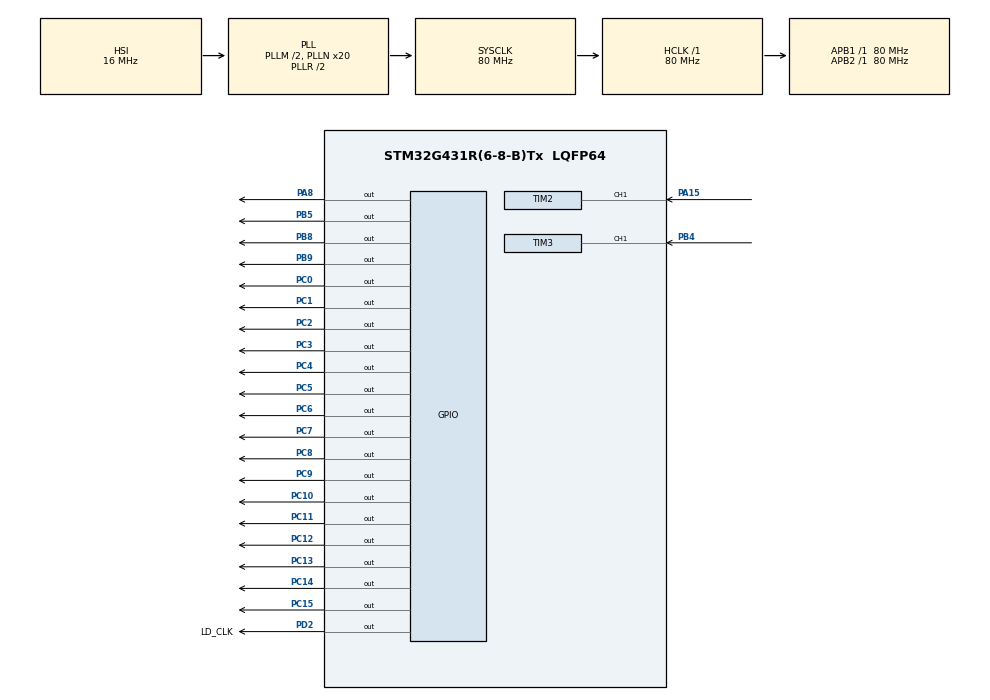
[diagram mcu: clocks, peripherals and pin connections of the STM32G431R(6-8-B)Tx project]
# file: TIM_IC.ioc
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Mcu.Family=STM32G4
Mcu.Name=STM32G431R(6-8-B)Tx
Mcu.Package=LQFP64
NVIC.PriorityGroup=NVIC_PRIORITYGROUP_4
NVIC.TIM2_IRQn=true\:0\:0\:false\:false\:true\:true\:true
NVIC.TIM3_IRQn=true\:0\:0\:false\:false\:true\:true\:true
PA15.Signal=S_TIM2_CH1
PA8.Signal=GPIO_Output
PB4.Signal=S_TIM3_CH1
PB5.Signal=GPIO_Output
PB8-BOOT0.Signal=GPIO_Output
PB9.Signal=GPIO_Output
PC0.Signal=GPIO_Output
PC1.Signal=GPIO_Output
PC10.Signal=GPIO_Output
PC11.Signal=GPIO_Output
PC12.Signal=GPIO_Output
PC13.Signal=GPIO_Output
PC14-OSC32_IN.Signal=GPIO_Output
PC15-OSC32_OUT.Signal=GPIO_Output
PC2.Signal=GPIO_Output
PC3.Signal=GPIO_Output
PC4.Signal=GPIO_Output
PC5.Signal=GPIO_Output
PC6.Signal=GPIO_Output
PC7.Signal=GPIO_Output
PC8.Signal=GPIO_Output
PC9.Signal=GPIO_Output
PD2.GPIO_Label=LD_CLK
PD2.Signal=GPIO_Output
PF0-OSC_IN.Mode=HSE-External-Oscillator
PF0-OSC_IN.Signal=RCC_OSC_IN
PF1-OSC_OUT.Mode=HSE-External-Oscillator
PF1-OSC_OUT.Signal=RCC_OSC_OUT
ProjectManager.HeapSize=0x200
ProjectManager.StackSize=0x400
ProjectManager.TargetToolchain=MDK-ARM V5.27
RCC.ADC12Freq_Value=80000000
RCC.AHBFreq_Value=80000000
RCC.APB1Freq_Value=80000000
RCC.APB1TimFreq_Value=80000000
RCC.APB2Freq_Value=80000000
RCC.APB2TimFreq_Value=80000000
RCC.CortexFreq_Value=80000000
RCC.EXTERNAL_CLOCK_VALUE=12288000
RCC.HCLKFreq_Value=80000000
RCC.HSE_VALUE=24000000
RCC.HSI48_VALUE=48000000
RCC.HSI_VALUE=16000000
RCC.LSE_VALUE=32768
RCC.PLLM=RCC_PLLM_DIV2
RCC.PLLN=20
RCC.SYSCLKFreq_VALUE=80000000
RCC.SYSCLKSource=RCC_SYSCLKSOURCE_PLLCLK
RCC.USBFreq_Value=80000000
RCC.VCOOutputFreq_Value=160000000
SH.S_TIM2_CH1.0=TIM2_CH1,Input_Capture1_from_TI1
SH.S_TIM3_CH1.0=TIM3_CH1,Input_Capture1_from_TI1
TIM2.Channel-Input_Capture1_from_TI1=TIM_CHANNEL_1
TIM2.PeriodNoDither=0xffffffff
TIM3.Channel-Input_Capture1_from_TI1=TIM_CHANNEL_1
TIM3.PeriodNoDither=0xffff
VP_SYS_VS_DBSignals.Mode=DisableDeadBatterySignals
VP_TIM2_VS_ClockSourceINT.Mode=Internal
VP_TIM3_VS_ClockSourceINT.Mode=Internal
board=custom

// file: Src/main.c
/* USER CODE BEGIN Header */
/**
  ******************************************************************************
  * @file           : main.c
  * @brief          : Main program body
  ******************************************************************************
  * @attention
  *
  * <h2><center>&copy; Copyright (c) 2021 STMicroelectronics.
  * All rights reserved.</center></h2>
  *
  * This software component is licensed by ST under BSD 3-Clause license,
  * the "License"; You may not use this file except in compliance with the
  * License. You may obtain a copy of the License at:
  *                        opensource.org/licenses/BSD-3-Clause
  *
  ******************************************************************************
  */
/* USER CODE END Header */
#include "main.h"

/* USER CODE BEGIN Includes */
#include <stdio.h>
#include "lcd.h"
/* USER CODE END Includes */

TIM_HandleTypeDef htim2;
TIM_HandleTypeDef htim3;

/* USER CODE BEGIN PV */
__IO  uint32_t IC2_Value1 = 0;
__IO  uint32_t IC2_Value2 = 0;

__IO  uint32_t IC3_Value1 = 0;
__IO  uint32_t IC3_Value2 = 0;

__IO  uint32_t uwDiffCapture = 0;
__IO  uint32_t uwFrequency = 0;

__IO  uint32_t uwDiffCapture2 = 0;
__IO  uint32_t uwFrequency2 = 0;
uint8_t buf[30];
/* USER CODE END PV */

void SystemClock_Config(void);
static void MX_GPIO_Init(void);
static void MX_TIM2_Init(void);
static void MX_TIM3_Init(void);

int main(void)
{

  /* MCU Configuration--------------------------------------------------------*/

  /* Reset of all peripherals, Initializes the Flash interface and the Systick. */
  HAL_Init();

  /* Configure the system clock */
  SystemClock_Config();

  /* Initialize all configured peripherals */
  MX_GPIO_Init();
  MX_TIM2_Init();
  MX_TIM3_Init();
  /* USER CODE BEGIN 2 */
	LCD_Init();
	LCD_Clear(White);
	LCD_SetBackColor(White);
	LCD_SetTextColor(Black);

	if(HAL_TIM_IC_Start_IT(&htim2, TIM_CHANNEL_1) == HAL_OK)
	if(HAL_TIM_IC_Start_IT(&htim3, TIM_CHANNEL_1) == HAL_OK)
  /* USER CODE END 2 */

  /* Infinite loop */
  while (1)
  {

    /* USER CODE BEGIN 3 */
		sprintf((char *)buf, "  R39: %d       ", uwFrequency2);
    LCD_DisplayStringLine(Line3, buf);

		sprintf((char *)buf, "  R40:  %d       ", uwFrequency);
    LCD_DisplayStringLine(Line1, buf);
		HAL_Delay(100);

  }
  /* USER CODE END 3 */
}

void SystemClock_Config(void)
{
  RCC_OscInitTypeDef RCC_OscInitStruct = {0};
  RCC_ClkInitTypeDef RCC_ClkInitStruct = {0};

  /** Configure the main internal regulator output voltage
  */
  HAL_PWREx_ControlVoltageScaling(PWR_REGULATOR_VOLTAGE_SCALE1);
  /** Initializes the RCC Oscillators according to the specified parameters
  * in the RCC_OscInitTypeDef structure.
  */
  RCC_OscInitStruct.OscillatorType = RCC_OSCILLATORTYPE_HSI;
  RCC_OscInitStruct.HSIState = RCC_HSI_ON;
  RCC_OscInitStruct.HSICalibrationValue = RCC_HSICALIBRATION_DEFAULT;
  RCC_OscInitStruct.PLL.PLLState = RCC_PLL_ON;
  RCC_OscInitStruct.PLL.PLLSource = RCC_PLLSOURCE_HSI;
  RCC_OscInitStruct.PLL.PLLM = RCC_PLLM_DIV2;
  RCC_OscInitStruct.PLL.PLLN = 20;
  RCC_OscInitStruct.PLL.PLLP = RCC_PLLP_DIV2;
  RCC_OscInitStruct.PLL.PLLQ = RCC_PLLQ_DIV2;
  RCC_OscInitStruct.PLL.PLLR = RCC_PLLR_DIV2;
  if (HAL_RCC_OscConfig(&RCC_OscInitStruct) != HAL_OK)
  {
    Error_Handler();
  }
  /** Initializes the CPU, AHB and APB buses clocks
  */
  RCC_ClkInitStruct.ClockType = RCC_CLOCKTYPE_HCLK|RCC_CLOCKTYPE_SYSCLK
                              |RCC_CLOCKTYPE_PCLK1|RCC_CLOCKTYPE_PCLK2;
  RCC_ClkInitStruct.SYSCLKSource = RCC_SYSCLKSOURCE_PLLCLK;
  RCC_ClkInitStruct.AHBCLKDivider = RCC_SYSCLK_DIV1;
  RCC_ClkInitStruct.APB1CLKDivider = RCC_HCLK_DIV1;
  RCC_ClkInitStruct.APB2CLKDivider = RCC_HCLK_DIV1;

  if (HAL_RCC_ClockConfig(&RCC_ClkInitStruct, FLASH_LATENCY_2) != HAL_OK)
  {
    Error_Handler();
  }
}

static void MX_TIM2_Init(void)
{

  TIM_ClockConfigTypeDef sClockSourceConfig = {0};
  TIM_MasterConfigTypeDef sMasterConfig = {0};
  TIM_IC_InitTypeDef sConfigIC = {0};

  htim2.Instance = TIM2;
  htim2.Init.Prescaler = 0;
  htim2.Init.CounterMode = TIM_COUNTERMODE_UP;
  htim2.Init.Period = 4.294967295E9;
  htim2.Init.ClockDivision = TIM_CLOCKDIVISION_DIV1;
  htim2.Init.AutoReloadPreload = TIM_AUTORELOAD_PRELOAD_DISABLE;
  if (HAL_TIM_Base_Init(&htim2) != HAL_OK)
  {
    Error_Handler();
  }
  sClockSourceConfig.ClockSource = TIM_CLOCKSOURCE_INTERNAL;
  if (HAL_TIM_ConfigClockSource(&htim2, &sClockSourceConfig) != HAL_OK)
  {
    Error_Handler();
  }
  if (HAL_TIM_IC_Init(&htim2) != HAL_OK)
  {
    Error_Handler();
  }
  sMasterConfig.MasterOutputTrigger = TIM_TRGO_RESET;
  sMasterConfig.MasterSlaveMode = TIM_MASTERSLAVEMODE_DISABLE;
  if (HAL_TIMEx_MasterConfigSynchronization(&htim2, &sMasterConfig) != HAL_OK)
  {
    Error_Handler();
  }
  sConfigIC.ICPolarity = TIM_INPUTCHANNELPOLARITY_RISING;
  sConfigIC.ICSelection = TIM_ICSELECTION_DIRECTTI;
  sConfigIC.ICPrescaler = TIM_ICPSC_DIV1;
  sConfigIC.ICFilter = 0;
  if (HAL_TIM_IC_ConfigChannel(&htim2, &sConfigIC, TIM_CHANNEL_1) != HAL_OK)
  {
    Error_Handler();
  }

}

static void MX_TIM3_Init(void)
{

  TIM_ClockConfigTypeDef sClockSourceConfig = {0};
  TIM_MasterConfigTypeDef sMasterConfig = {0};
  TIM_IC_InitTypeDef sConfigIC = {0};

  htim3.Instance = TIM3;
  htim3.Init.Prescaler = 0;
  htim3.Init.CounterMode = TIM_COUNTERMODE_UP;
  htim3.Init.Period = 65535;
  htim3.Init.ClockDivision = TIM_CLOCKDIVISION_DIV1;
  htim3.Init.AutoReloadPreload = TIM_AUTORELOAD_PRELOAD_DISABLE;
  if (HAL_TIM_Base_Init(&htim3) != HAL_OK)
  {
    Error_Handler();
  }
  sClockSourceConfig.ClockSource = TIM_CLOCKSOURCE_INTERNAL;
  if (HAL_TIM_ConfigClockSource(&htim3, &sClockSourceConfig) != HAL_OK)
  {
    Error_Handler();
  }
  if (HAL_TIM_IC_Init(&htim3) != HAL_OK)
  {
    Error_Handler();
  }
  sMasterConfig.MasterOutputTrigger = TIM_TRGO_RESET;
  sMasterConfig.MasterSlaveMode = TIM_MASTERSLAVEMODE_DISABLE;
  if (HAL_TIMEx_MasterConfigSynchronization(&htim3, &sMasterConfig) != HAL_OK)
  {
    Error_Handler();
  }
  sConfigIC.ICPolarity = TIM_INPUTCHANNELPOLARITY_RISING;
  sConfigIC.ICSelection = TIM_ICSELECTION_DIRECTTI;
  sConfigIC.ICPrescaler = TIM_ICPSC_DIV1;
  sConfigIC.ICFilter = 0;
  if (HAL_TIM_IC_ConfigChannel(&htim3, &sConfigIC, TIM_CHANNEL_1) != HAL_OK)
  {
    Error_Handler();
  }

}

static void MX_GPIO_Init(void)
{
  GPIO_InitTypeDef GPIO_InitStruct = {0};

  /* GPIO Ports Clock Enable */
  __HAL_RCC_GPIOC_CLK_ENABLE();
  __HAL_RCC_GPIOF_CLK_ENABLE();
  __HAL_RCC_GPIOA_CLK_ENABLE();
  __HAL_RCC_GPIOD_CLK_ENABLE();
  __HAL_RCC_GPIOB_CLK_ENABLE();

  /*Configure GPIO pin Output Level */
  HAL_GPIO_WritePin(GPIOC, GPIO_PIN_13|GPIO_PIN_14|GPIO_PIN_15|GPIO_PIN_0
                          |GPIO_PIN_1|GPIO_PIN_2|GPIO_PIN_3|GPIO_PIN_4
                          |GPIO_PIN_5|GPIO_PIN_6|GPIO_PIN_7|GPIO_PIN_8
                          |GPIO_PIN_9|GPIO_PIN_10|GPIO_PIN_11|GPIO_PIN_12, GPIO_PIN_RESET);

  /*Configure GPIO pin Output Level */
  HAL_GPIO_WritePin(GPIOA, GPIO_PIN_8, GPIO_PIN_RESET);

  /*Configure GPIO pin Output Level */
  HAL_GPIO_WritePin(LD_CLK_GPIO_Port, LD_CLK_Pin, GPIO_PIN_RESET);

  /*Configure GPIO pin Output Level */
  HAL_GPIO_WritePin(GPIOB, GPIO_PIN_5|GPIO_PIN_8|GPIO_PIN_9, GPIO_PIN_RESET);

  /*Configure GPIO pins : PC13 PC14 PC15 PC0
                           PC1 PC2 PC3 PC4
                           PC5 PC6 PC7 PC8
                           PC9 PC10 PC11 PC12 */
  GPIO_InitStruct.Pin = GPIO_PIN_13|GPIO_PIN_14|GPIO_PIN_15|GPIO_PIN_0
                          |GPIO_PIN_1|GPIO_PIN_2|GPIO_PIN_3|GPIO_PIN_4
                          |GPIO_PIN_5|GPIO_PIN_6|GPIO_PIN_7|GPIO_PIN_8
                          |GPIO_PIN_9|GPIO_PIN_10|GPIO_PIN_11|GPIO_PIN_12;
  GPIO_InitStruct.Mode = GPIO_MODE_OUTPUT_PP;
  GPIO_InitStruct.Pull = GPIO_NOPULL;
  GPIO_InitStruct.Speed = GPIO_SPEED_FREQ_LOW;
  HAL_GPIO_Init(GPIOC, &GPIO_InitStruct);

  /*Configure GPIO pin : PA8 */
  GPIO_InitStruct.Pin = GPIO_PIN_8;
  GPIO_InitStruct.Mode = GPIO_MODE_OUTPUT_PP;
  GPIO_InitStruct.Pull = GPIO_NOPULL;
  GPIO_InitStruct.Speed = GPIO_SPEED_FREQ_LOW;
  HAL_GPIO_Init(GPIOA, &GPIO_InitStruct);

  /*Configure GPIO pin : LD_CLK_Pin */
  GPIO_InitStruct.Pin = LD_CLK_Pin;
  GPIO_InitStruct.Mode = GPIO_MODE_OUTPUT_PP;
  GPIO_InitStruct.Pull = GPIO_NOPULL;
  GPIO_InitStruct.Speed = GPIO_SPEED_FREQ_LOW;
  HAL_GPIO_Init(LD_CLK_GPIO_Port, &GPIO_InitStruct);

  /*Configure GPIO pins : PB5 PB8 PB9 */
  GPIO_InitStruct.Pin = GPIO_PIN_5|GPIO_PIN_8|GPIO_PIN_9;
  GPIO_InitStruct.Mode = GPIO_MODE_OUTPUT_PP;
  GPIO_InitStruct.Pull = GPIO_NOPULL;
  GPIO_InitStruct.Speed = GPIO_SPEED_FREQ_LOW;
  HAL_GPIO_Init(GPIOB, &GPIO_InitStruct);

}

/* USER CODE BEGIN 4 */
void HAL_TIM_IC_CaptureCallback(TIM_HandleTypeDef *htim)
{
	static uint8_t CaptureIndex = 0;
	static uint8_t CaptureIndex2 = 0;
  if (htim->Instance == TIM2 && htim->Channel == HAL_TIM_ACTIVE_CHANNEL_1)
  {
		if(CaptureIndex == 0)
		{
			IC2_Value1 = HAL_TIM_ReadCapturedValue(&htim2, TIM_CHANNEL_1);
			CaptureIndex = 1;
		}
		else if(CaptureIndex == 1)
		{
			IC2_Value2 = HAL_TIM_ReadCapturedValue(&htim2, TIM_CHANNEL_1);
			if (IC2_Value2 > IC2_Value1)
      {
        uwDiffCapture = (IC2_Value2 - IC2_Value1);
      }
      else if (IC2_Value2 < IC2_Value1)
      {
        /* 0xFFFF is max TIM1_CCRx value */
        uwDiffCapture = ((0xffffffff - IC2_Value1) + IC2_Value2) + 1;
      }

			uwFrequency = HAL_RCC_GetPCLK2Freq() / uwDiffCapture;
			CaptureIndex = 0;
		}
  }
	if (htim->Instance == TIM3 && htim->Channel == HAL_TIM_ACTIVE_CHANNEL_1)
  {
		if(CaptureIndex2 == 0)
		{
			IC3_Value1 = HAL_TIM_ReadCapturedValue(&htim3, TIM_CHANNEL_1);
			CaptureIndex2 = 1;
		}
		else if(CaptureIndex2 == 1)
		{
			IC3_Value2 = HAL_TIM_ReadCapturedValue(&htim3, TIM_CHANNEL_1);
			if (IC3_Value2 > IC3_Value1)
      {
        uwDiffCapture2 = (IC3_Value2 - IC3_Value1);
      }
      else if (IC3_Value2 < IC3_Value1)
      {
        /* 0xFFFF is max TIM1_CCRx value */
        uwDiffCapture2 = ((0xffffffff - IC3_Value1) + IC3_Value2) + 1;
      }
			uwFrequency2 = HAL_RCC_GetPCLK2Freq() / uwDiffCapture2;
			CaptureIndex2 = 0;
		}
  }
	HAL_TIM_IC_Start_IT(&htim2, TIM_CHANNEL_1);
	HAL_TIM_IC_Start_IT(&htim3, TIM_CHANNEL_1);
}
/* USER CODE END 4 */

void Error_Handler(void)
{
  __disable_irq();
  while (1)
  {
  }
}

/************************ (C) COPYRIGHT STMicroelectronics *****END OF FILE****/
